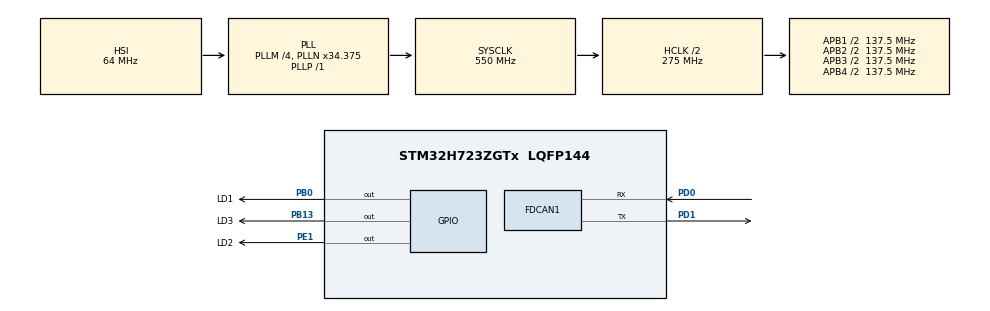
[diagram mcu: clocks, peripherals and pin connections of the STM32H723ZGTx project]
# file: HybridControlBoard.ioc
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CORTEX_M7.default_mode_Activation=1
FDCAN1.AutoRetransmission=ENABLE
FDCAN1.CalculateBaudRateNominal=1000000
FDCAN1.CalculateTimeBitNominal=1000
FDCAN1.CalculateTimeQuantumNominal=50.0
FDCAN1.Mode=FDCAN_MODE_NORMAL
FDCAN1.NominalPrescaler=5
FDCAN1.NominalTimeSeg1=17
FDCAN1.NominalTimeSeg2=2
FDCAN1.ProtocolException=ENABLE
FDCAN1.RxBuffersNbr=0
FDCAN1.RxFifo0ElmtsNbr=16
FDCAN1.RxFifo1ElmtsNbr=16
FDCAN1.StdFiltersNbr=2
FDCAN1.TransmitPause=ENABLE
FDCAN1.TxBuffersNbr=0
FDCAN1.TxFifoQueueElmtsNbr=4
FREERTOS.Events01=throttleReceivedFlag,Dynamic,NULL;highPriorityEvent,Dynamic,NULL
FREERTOS.Mutexes01=mutexHfdcan,Dynamic,NULL,Available;mutexThrottleData,Dynamic,NULL,Available
FREERTOS.Tasks01=defaultTask,8,128,DefaultTask,Default,NULL,Dynamic,NULL,NULL;highPrtyMessage,48,128,HandleHighPriorityMessage,Default,NULL,Dynamic,NULL,NULL;handleThrottle,40,128,HandleThrottle,Default,NULL,Dynamic,NULL,NULL
FREERTOS.configUSE_NEWLIB_REENTRANT=1
Mcu.Family=STM32H7
Mcu.Name=STM32H723ZGTx
Mcu.Package=LQFP144
NVIC.FDCAN1_IT0_IRQn=true\:5\:0\:false\:false\:true\:true\:true\:true\:true
NVIC.FDCAN1_IT1_IRQn=true\:6\:0\:true\:false\:true\:true\:true\:true\:true
NVIC.FDCAN_CAL_IRQn=true\:5\:0\:false\:false\:true\:true\:true\:true\:true
NVIC.PriorityGroup=NVIC_PRIORITYGROUP_4
NVIC.TIM6_DAC_IRQn=true\:15\:0\:false\:false\:true\:false\:false\:true\:true
NVIC.TimeBase=TIM6_DAC_IRQn
NVIC.TimeBaseIP=TIM6
PA13(JTMS/SWDIO).GPIO_Label=SWDIO
PA13(JTMS/SWDIO).Signal=DEBUG_JTMS-SWDIO
PA14(JTCK/SWCLK).GPIO_Label=SWCLK
PA14(JTCK/SWCLK).Signal=DEBUG_JTCK-SWCLK
PB0.GPIO_Label=LD1
PB0.Signal=GPIO_Output
PB13.GPIO_Label=LD3
PB13.Signal=GPIO_Output
PC14-OSC32_IN.Signal=RCC_OSC32_IN
PC15-OSC32_OUT.Signal=RCC_OSC32_OUT
PD0.Mode=FDCAN_Activate
PD0.Signal=FDCAN1_RX
PD1.Mode=FDCAN_Activate
PD1.Signal=FDCAN1_TX
PE1.GPIO_Label=LD2
PE1.Signal=GPIO_Output
ProjectManager.HeapSize=0x200
ProjectManager.StackSize=0x400
ProjectManager.TargetToolchain=STM32CubeIDE
RCC.ADCFreq_Value=200000000
RCC.APB1Freq_Value=137500000
RCC.APB2Freq_Value=137500000
RCC.APB3Freq_Value=137500000
RCC.APB4Freq_Value=137500000
RCC.CortexFreq_Value=550000000
RCC.D1PPRE=RCC_APB3_DIV2
RCC.D2PPRE1=RCC_APB1_DIV2
RCC.D2PPRE2=RCC_APB2_DIV2
RCC.D3PPRE=RCC_APB4_DIV2
RCC.DIVM1=4
RCC.DIVM2=4
RCC.DIVN1=34
RCC.DIVN2=25
RCC.DIVP1=1
RCC.DIVQ1=4
RCC.DIVQ2=4
RCC.FDCANCLockSelection=RCC_FDCANCLKSOURCE_PLL2
RCC.HCLKFreq_Value=275000000
RCC.HPRE=RCC_HCLK_DIV2
RCC.HSE_VALUE=8000000
RCC.PLLFRACN=3072
RCC.SYSCLKFreq_VALUE=550000000
RCC.SYSCLKSource=RCC_SYSCLKSOURCE_PLLCLK
RCC.USBCLockSelection=RCC_USBCLKSOURCE_HSI48
RCC.USBFreq_Value=48000000
VP_FREERTOS_VS_CMSIS_V2.Mode=CMSIS_V2
VP_MEMORYMAP_VS_MEMORYMAP.Mode=CurAppReg
VP_SYS_VS_tim6.Mode=TIM6
board=NUCLEO-H723ZG

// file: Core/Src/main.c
/* USER CODE BEGIN Header */
/**
  ******************************************************************************
  * @file           : main.c
  * @brief          : Main program body
  ******************************************************************************
  * @attention
  *
  * Copyright (c) 2025 STMicroelectronics.
  * All rights reserved.
  *
  * This software is licensed under terms that can be found in the LICENSE file
  * in the root directory of this software component.
  * If no LICENSE file comes with this software, it is provided AS-IS.
  *
  ******************************************************************************
  */
/* USER CODE END Header */
#include "main.h"
#include "cmsis_os.h"

/* USER CODE BEGIN Includes */
#include "mp7_fdcan.h"
#include <string.h>

/* USER CODE END Includes */

/* USER CODE BEGIN PD */
/*************************/
// CAN Messages
/*************************/
/*
 * CAN DLCs
 */
#define PBB_THROTTLE_POSITION_DLC   2
#define HCB_ICE_THROTTLE_PERC_DLC   2
#define HCB_EMOTOR_TORQUE_CMD_DLC   2

/*
 * CAN IDs
 */
// Hybrid Control Board IDs
#define HCB_EMOTOR_TORQUE_CMD_ID  0x3FD
#define HCB_ICE_THROTTLE_PERC_ID  0x1E7

// Pedal Box Board IDs
#define PBB_THROTTLE_POSITION_ID  0x1E7

/*************************/
// RTOS Event Flags
/*************************/
#define HCB_HIGH_PRIORITY_MESSAGE_FLAG  0x00000001
#define HCB_THROTTLE_RECEIVED_FLAG      0x00000001

/*************************/
// Other
/*************************/
// Send throttle every 50 milliseconds
#define HCB_THROTTLE_SEND_TIME   (uint32_t)50

/* USER CODE END PD */

FDCAN_HandleTypeDef hfdcan1;

/* Definitions for defaultTask */
osThreadId_t defaultTaskHandle;
const osThreadAttr_t defaultTask_attributes = {
  .name = "defaultTask",
  .stack_size = 128 * 4,
  .priority = (osPriority_t) osPriorityLow,
};
/* Definitions for highPrtyMessage */
osThreadId_t highPrtyMessageHandle;
const osThreadAttr_t highPrtyMessage_attributes = {
  .name = "highPrtyMessage",
  .stack_size = 128 * 4,
  .priority = (osPriority_t) osPriorityRealtime,
};
/* Definitions for handleThrottle */
osThreadId_t handleThrottleHandle;
const osThreadAttr_t handleThrottle_attributes = {
  .name = "handleThrottle",
  .stack_size = 128 * 4,
  .priority = (osPriority_t) osPriorityHigh,
};
/* Definitions for mutexHfdcan */
osMutexId_t mutexHfdcanHandle;
const osMutexAttr_t mutexHfdcan_attributes = {
  .name = "mutexHfdcan"
};
/* Definitions for mutexThrottleData */
osMutexId_t mutexThrottleDataHandle;
const osMutexAttr_t mutexThrottleData_attributes = {
  .name = "mutexThrottleData"
};
/* Definitions for throttleReceivedFlag */
osEventFlagsId_t throttleReceivedFlagHandle;
const osEventFlagsAttr_t throttleReceivedFlag_attributes = {
  .name = "throttleReceivedFlag"
};
/* Definitions for highPriorityEvent */
osEventFlagsId_t highPriorityEventHandle;
const osEventFlagsAttr_t highPriorityEvent_attributes = {
  .name = "highPriorityEvent"
};
/* USER CODE BEGIN PV */

typedef struct {
  uint8_t throttlePositionData[PBB_THROTTLE_POSITION_DLC];
} MP7_HCB_ThrottleDataTypeDef;

static MP7_HCB_ThrottleDataTypeDef throttleData;

/* USER CODE END PV */

void SystemClock_Config(void);
static void MPU_Config(void);
static void MX_GPIO_Init(void);
static void MX_FDCAN1_Init(void);
void DefaultTask(void *argument);
void HandleHighPriorityMessage(void *argument);
void HandleThrottle(void *argument);

/* USER CODE BEGIN PFP */
void HAL_FDCAN_RxFifo0Callback(FDCAN_HandleTypeDef *hfdcan, uint32_t RxFifo0ITs);

/* USER CODE END PFP */

int main(void)
{

  /* MPU Configuration--------------------------------------------------------*/
  MPU_Config();

  /* MCU Configuration--------------------------------------------------------*/

  /* Reset of all peripherals, Initializes the Flash interface and the Systick. */
  HAL_Init();

  /* Configure the system clock */
  SystemClock_Config();

  /* Initialize all configured peripherals */
  MX_GPIO_Init();
  MX_FDCAN1_Init();
  /* USER CODE BEGIN 2 */

  // TODO: RTD System

  /* USER CODE END 2 */

  /* Init scheduler */
  osKernelInitialize();
  /* Create the mutex(es) */
  /* creation of mutexHfdcan */
  mutexHfdcanHandle = osMutexNew(&mutexHfdcan_attributes);

  /* creation of mutexThrottleData */
  mutexThrottleDataHandle = osMutexNew(&mutexThrottleData_attributes);

  /* Create the thread(s) */
  /* creation of defaultTask */
  defaultTaskHandle = osThreadNew(DefaultTask, NULL, &defaultTask_attributes);

  /* creation of highPrtyMessage */
  highPrtyMessageHandle = osThreadNew(HandleHighPriorityMessage, NULL, &highPrtyMessage_attributes);

  /* creation of handleThrottle */
  handleThrottleHandle = osThreadNew(HandleThrottle, NULL, &handleThrottle_attributes);

  /* creation of throttleReceivedFlag */
  throttleReceivedFlagHandle = osEventFlagsNew(&throttleReceivedFlag_attributes);

  /* creation of highPriorityEvent */
  highPriorityEventHandle = osEventFlagsNew(&highPriorityEvent_attributes);

  /* Start scheduler */
  osKernelStart();

  /* We should never get here as control is now taken by the scheduler */

  /* Infinite loop */
  while (1)
  {

  }
}

void SystemClock_Config(void)
{
  RCC_OscInitTypeDef RCC_OscInitStruct = {0};
  RCC_ClkInitTypeDef RCC_ClkInitStruct = {0};

  /** Supply configuration update enable
  */
  HAL_PWREx_ConfigSupply(PWR_LDO_SUPPLY);

  /** Configure the main internal regulator output voltage
  */
  __HAL_PWR_VOLTAGESCALING_CONFIG(PWR_REGULATOR_VOLTAGE_SCALE0);

  while(!__HAL_PWR_GET_FLAG(PWR_FLAG_VOSRDY)) {}

  /** Initializes the RCC Oscillators according to the specified parameters
  * in the RCC_OscInitTypeDef structure.
  */
  RCC_OscInitStruct.OscillatorType = RCC_OSCILLATORTYPE_HSI;
  RCC_OscInitStruct.HSIState = RCC_HSI_DIV1;
  RCC_OscInitStruct.HSICalibrationValue = 64;
  RCC_OscInitStruct.PLL.PLLState = RCC_PLL_ON;
  RCC_OscInitStruct.PLL.PLLSource = RCC_PLLSOURCE_HSI;
  RCC_OscInitStruct.PLL.PLLM = 4;
  RCC_OscInitStruct.PLL.PLLN = 34;
  RCC_OscInitStruct.PLL.PLLP = 1;
  RCC_OscInitStruct.PLL.PLLQ = 4;
  RCC_OscInitStruct.PLL.PLLR = 2;
  RCC_OscInitStruct.PLL.PLLRGE = RCC_PLL1VCIRANGE_3;
  RCC_OscInitStruct.PLL.PLLVCOSEL = RCC_PLL1VCOWIDE;
  RCC_OscInitStruct.PLL.PLLFRACN = 3072;
  if (HAL_RCC_OscConfig(&RCC_OscInitStruct) != HAL_OK)
  {
    Error_Handler();
  }

  /** Initializes the CPU, AHB and APB buses clocks
  */
  RCC_ClkInitStruct.ClockType = RCC_CLOCKTYPE_HCLK|RCC_CLOCKTYPE_SYSCLK
                              |RCC_CLOCKTYPE_PCLK1|RCC_CLOCKTYPE_PCLK2
                              |RCC_CLOCKTYPE_D3PCLK1|RCC_CLOCKTYPE_D1PCLK1;
  RCC_ClkInitStruct.SYSCLKSource = RCC_SYSCLKSOURCE_PLLCLK;
  RCC_ClkInitStruct.SYSCLKDivider = RCC_SYSCLK_DIV1;
  RCC_ClkInitStruct.AHBCLKDivider = RCC_HCLK_DIV2;
  RCC_ClkInitStruct.APB3CLKDivider = RCC_APB3_DIV2;
  RCC_ClkInitStruct.APB1CLKDivider = RCC_APB1_DIV2;
  RCC_ClkInitStruct.APB2CLKDivider = RCC_APB2_DIV2;
  RCC_ClkInitStruct.APB4CLKDivider = RCC_APB4_DIV2;

  if (HAL_RCC_ClockConfig(&RCC_ClkInitStruct, FLASH_LATENCY_3) != HAL_OK)
  {
    Error_Handler();
  }
}

static void MX_FDCAN1_Init(void)
{

  hfdcan1.Instance = FDCAN1;
  hfdcan1.Init.FrameFormat = FDCAN_FRAME_CLASSIC;
  hfdcan1.Init.Mode = FDCAN_MODE_NORMAL;
  hfdcan1.Init.AutoRetransmission = ENABLE;
  hfdcan1.Init.TransmitPause = ENABLE;
  hfdcan1.Init.ProtocolException = ENABLE;
  hfdcan1.Init.NominalPrescaler = 5;
  hfdcan1.Init.NominalSyncJumpWidth = 1;
  hfdcan1.Init.NominalTimeSeg1 = 17;
  hfdcan1.Init.NominalTimeSeg2 = 2;
  hfdcan1.Init.DataPrescaler = 1;
  hfdcan1.Init.DataSyncJumpWidth = 1;
  hfdcan1.Init.DataTimeSeg1 = 1;
  hfdcan1.Init.DataTimeSeg2 = 1;
  hfdcan1.Init.MessageRAMOffset = 0;
  hfdcan1.Init.StdFiltersNbr = 2;
  hfdcan1.Init.ExtFiltersNbr = 0;
  hfdcan1.Init.RxFifo0ElmtsNbr = 16;
  hfdcan1.Init.RxFifo0ElmtSize = FDCAN_DATA_BYTES_8;
  hfdcan1.Init.RxFifo1ElmtsNbr = 16;
  hfdcan1.Init.RxFifo1ElmtSize = FDCAN_DATA_BYTES_8;
  hfdcan1.Init.RxBuffersNbr = 0;
  hfdcan1.Init.RxBufferSize = FDCAN_DATA_BYTES_8;
  hfdcan1.Init.TxEventsNbr = 0;
  hfdcan1.Init.TxBuffersNbr = 0;
  hfdcan1.Init.TxFifoQueueElmtsNbr = 4;
  hfdcan1.Init.TxFifoQueueMode = FDCAN_TX_FIFO_OPERATION;
  hfdcan1.Init.TxElmtSize = FDCAN_DATA_BYTES_8;
  if (HAL_FDCAN_Init(&hfdcan1) != HAL_OK)
  {
    Error_Handler();
  }
  /* USER CODE BEGIN FDCAN1_Init 2 */
  if (MP7_FDCAN_ConfigureGlobalFilter(&hfdcan1) != HAL_OK) {
    Error_Handler();
  }

  // Configure High Priority Filter on RX_FIFO0
  if (MP7_FDCAN_ConfigureFilter(&hfdcan1, MP7_HIGH_PRIORITY_MIN_ID, MP7_HIGH_PRIORITY_MAX_ID, 0, FDCAN_FILTER_TO_RXFIFO0) != HAL_OK) {
    Error_Handler();
  }

  if (HAL_FDCAN_Start(&hfdcan1) != HAL_OK) {
    Error_Handler();
  }

  if (HAL_FDCAN_ActivateNotification(&hfdcan1, FDCAN_IT_RX_FIFO0_NEW_MESSAGE, 0) != HAL_OK) {
    Error_Handler();
  }

  /* USER CODE END FDCAN1_Init 2 */

}

static void MX_GPIO_Init(void)
{
  GPIO_InitTypeDef GPIO_InitStruct = {0};

  /* GPIO Ports Clock Enable */
  __HAL_RCC_GPIOC_CLK_ENABLE();
  __HAL_RCC_GPIOB_CLK_ENABLE();
  __HAL_RCC_GPIOA_CLK_ENABLE();
  __HAL_RCC_GPIOD_CLK_ENABLE();
  __HAL_RCC_GPIOE_CLK_ENABLE();

  /*Configure GPIO pin Output Level */
  HAL_GPIO_WritePin(GPIOB, LD1_Pin|LD3_Pin, GPIO_PIN_RESET);

  /*Configure GPIO pin Output Level */
  HAL_GPIO_WritePin(LD2_GPIO_Port, LD2_Pin, GPIO_PIN_RESET);

  /*Configure GPIO pins : LD1_Pin LD3_Pin */
  GPIO_InitStruct.Pin = LD1_Pin|LD3_Pin;
  GPIO_InitStruct.Mode = GPIO_MODE_OUTPUT_PP;
  GPIO_InitStruct.Pull = GPIO_NOPULL;
  GPIO_InitStruct.Speed = GPIO_SPEED_FREQ_LOW;
  HAL_GPIO_Init(GPIOB, &GPIO_InitStruct);

  /*Configure GPIO pin : LD2_Pin */
  GPIO_InitStruct.Pin = LD2_Pin;
  GPIO_InitStruct.Mode = GPIO_MODE_OUTPUT_PP;
  GPIO_InitStruct.Pull = GPIO_NOPULL;
  GPIO_InitStruct.Speed = GPIO_SPEED_FREQ_LOW;
  HAL_GPIO_Init(LD2_GPIO_Port, &GPIO_InitStruct);

}

/* USER CODE BEGIN 4 */

void HAL_FDCAN_RxFifo0Callback(FDCAN_HandleTypeDef *hfdcan, uint32_t RxFifo0ITs) {
  if ((RxFifo0ITs & FDCAN_IT_RX_FIFO0_NEW_MESSAGE) != RESET) {
    osEventFlagsSet(highPriorityEventHandle, HCB_HIGH_PRIORITY_MESSAGE_FLAG);
  }
}

/* USER CODE END 4 */

void DefaultTask(void *argument)
{
  /* USER CODE BEGIN 5 */
  HAL_GPIO_WritePin(LD1_GPIO_Port, LD1_Pin, GPIO_PIN_SET);

  /* Infinite loop */
  for(;;)
  {
    osThreadYield();
  }

  /* USER CODE END 5 */
}

void HandleHighPriorityMessage(void *argument)
{
  /* USER CODE BEGIN HandleHighPriorityMessage */
  /* Infinite loop */
  for(;;)
  {
    // Wait until High Priority message has been received
    if (osEventFlagsWait(highPrtyMessageHandle, HCB_HIGH_PRIORITY_MESSAGE_FLAG, osFlagsWaitAny, osWaitForever) != osOK) {
      Error_Handler();
    }

    // Get message
    FDCAN_RxHeaderTypeDef RxHeader;
    uint8_t rxData[MP7_CAN_MAX_DLC];

    // TODO: Figure out timeouts for all mutexes
    if (osMutexAcquire(mutexHfdcanHandle, osWaitForever) != osOK) {
      Error_Handler();
    }

    if (HAL_FDCAN_GetRxMessage(&hfdcan1, FDCAN_RX_FIFO0, &RxHeader, rxData) != HAL_OK) {
      Error_Handler();
    }

    if (osMutexRelease(mutexHfdcanHandle) != osOK) {
      Error_Handler();
    }

    // Pass off to proper function handles
    uint32_t messageID = RxHeader.Identifier;
    if (messageID <= MP7_ERROR_MAX_ID) { // Error message

    } else if (messageID <= MP7_NORMAL_MAX_ID) { // Normal message
      if (messageID == PBB_THROTTLE_POSITION_ID) {
        if (osMutexAcquire(mutexThrottleDataHandle, osWaitForever) != osOK) {
          Error_Handler();
        }

        memcpy(throttleData.throttlePositionData, rxData, PBB_THROTTLE_POSITION_DLC);

        if (osMutexRelease(mutexThrottleDataHandle) != osOK) {
          Error_Handler();
        }

        if (osEventFlagsSet(throttleReceivedFlagHandle, HCB_THROTTLE_RECEIVED_FLAG) < 0) {
          Error_Handler();
        }
      }
    } else if (messageID <= MP7_BMS_MAX_ID) { // Battery Management System message

    } else if (messageID <= INVERTER_ID_MAX_ID) { // Inverter message

    }
  }
  /* USER CODE END HandleHighPriorityMessage */
}

void HandleThrottle(void *argument)
{
  /* USER CODE BEGIN HandleThrottle */
  FDCAN_TxHeaderTypeDef emotorTxHeader;
  if (MP7_FDCAN_ConfigureTxHeader(&emotorTxHeader, HCB_EMOTOR_TORQUE_CMD_ID, HCB_EMOTOR_TORQUE_CMD_DLC) != HAL_OK) {
    Error_Handler();
  }

  FDCAN_TxHeaderTypeDef iceTxHeader;
  if (MP7_FDCAN_ConfigureTxHeader(&iceTxHeader, HCB_ICE_THROTTLE_PERC_ID, HCB_ICE_THROTTLE_PERC_DLC) != HAL_OK) {
    Error_Handler();
  }

  /* Infinite loop */
  for(;;)
  {
    // Do not clear the flag in case there is an error
    // Timeout if 3 throttle messages have been missed
    if (osEventFlagsWait(throttleReceivedFlagHandle, HCB_THROTTLE_RECEIVED_FLAG, osFlagsNoClear, HCB_THROTTLE_SEND_TIME * 3) < 0) {
      Error_Handler();
    }

    /********************************/
    // TODO: HYBRID CONTROL ALGORITHM
    /********************************/

    uint8_t iceThrottleData[MP7_CAN_MAX_DLC] = {0};
    uint8_t emotorThrottleData[MP7_CAN_MAX_DLC] = {1, 0, 0, 0, 1, 1, 0, 0}; // 0.1 N*m for now

    if (osMutexAcquire(mutexHfdcanHandle, HCB_THROTTLE_SEND_TIME) != osOK) {
      Error_Handler();
    }

    if (HAL_FDCAN_AddMessageToTxFifoQ(&hfdcan1, &emotorTxHeader, emotorThrottleData) != HAL_OK) {
      Error_Handler();
    }

    if (HAL_FDCAN_AddMessageToTxFifoQ(&hfdcan1, &iceTxHeader, iceThrottleData) != HAL_OK) {
      Error_Handler();
    }

    if (osMutexRelease(mutexHfdcanHandle) != osOK) {
      Error_Handler();
    }

    // Clear the flag after the messages were properly sent
    if (osEventFlagsClear(throttleReceivedFlagHandle, HCB_THROTTLE_RECEIVED_FLAG) < 0) {
      Error_Handler();
    }

  }
  /* USER CODE END HandleThrottle */
}

 /* MPU Configuration */

void MPU_Config(void)
{
  MPU_Region_InitTypeDef MPU_InitStruct = {0};

  /* Disables the MPU */
  HAL_MPU_Disable();

  /** Initializes and configures the Region and the memory to be protected
  */
  MPU_InitStruct.Enable = MPU_REGION_ENABLE;
  MPU_InitStruct.Number = MPU_REGION_NUMBER0;
  MPU_InitStruct.BaseAddress = 0x0;
  MPU_InitStruct.Size = MPU_REGION_SIZE_4GB;
  MPU_InitStruct.SubRegionDisable = 0x87;
  MPU_InitStruct.TypeExtField = MPU_TEX_LEVEL0;
  MPU_InitStruct.AccessPermission = MPU_REGION_NO_ACCESS;
  MPU_InitStruct.DisableExec = MPU_INSTRUCTION_ACCESS_DISABLE;
  MPU_InitStruct.IsShareable = MPU_ACCESS_SHAREABLE;
  MPU_InitStruct.IsCacheable = MPU_ACCESS_NOT_CACHEABLE;
  MPU_InitStruct.IsBufferable = MPU_ACCESS_NOT_BUFFERABLE;

  HAL_MPU_ConfigRegion(&MPU_InitStruct);
  /* Enables the MPU */
  HAL_MPU_Enable(MPU_PRIVILEGED_DEFAULT);

}

void HAL_TIM_PeriodElapsedCallback(TIM_HandleTypeDef *htim)
{
  if (htim->Instance == TIM6)
  {
    HAL_IncTick();
  }
}

void Error_Handler(void)
{
  /* USER CODE BEGIN Error_Handler_Debug */
  /* User can add his own implementation to report the HAL error return state */
  __disable_irq();
  while (1)
  {
    HAL_GPIO_WritePin(GPIOE, LD3_Pin, GPIO_PIN_SET);
  }
  /* USER CODE END Error_Handler_Debug */
}
